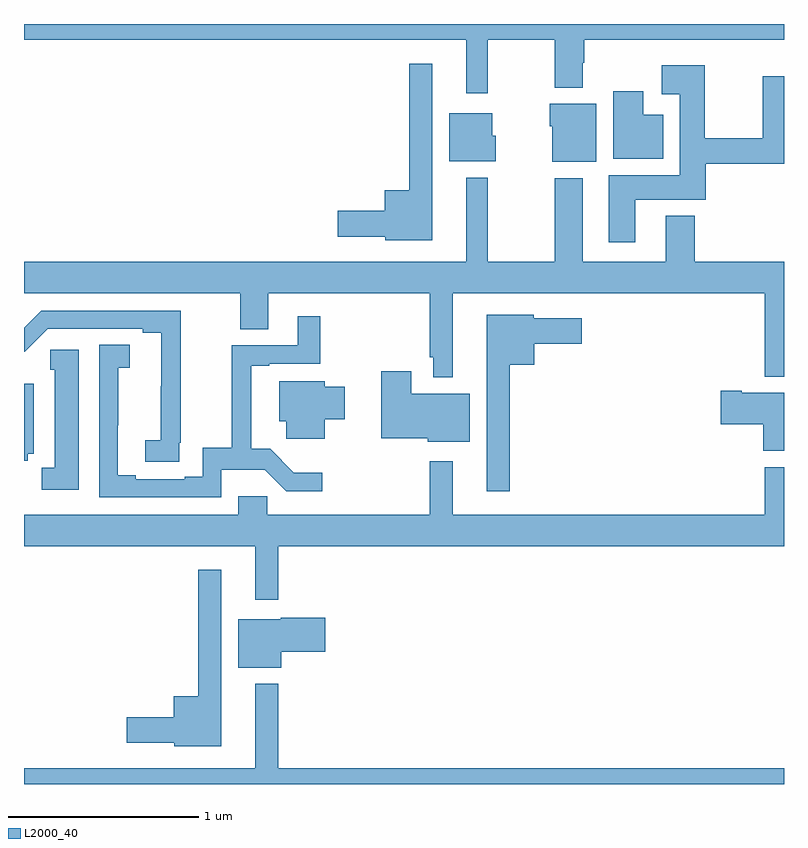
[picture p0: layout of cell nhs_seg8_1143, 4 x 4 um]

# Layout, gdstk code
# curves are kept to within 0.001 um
import gdstk
lib = gdstk.Library(unit=1e-6, precision=1e-09)
def P(c, l, *ps):  # polygons
    for p in ps: c.add(gdstk.Polygon(p, *l))
L2000_40 = (2000, 40)

nhs_seg8_1143 = lib.new_cell('nhs_seg8_1143')
P(nhs_seg8_1143, L2000_40, [(185.441,1133.816),(185.794,1133.816),(185.794,1133.564),(185.941,1133.564),(185.941,1133.696),(185.949,1133.696),(185.949,1133.816),(187,1133.816),(187,1133.9),(183,1133.9),(183,1133.816),(185.327,1133.816),(185.327,1133.535),(185.441,1133.535)],
  [(185.149,1133.692),(185.028,1133.692),(185.028,1133.026),(184.898,1133.026),(184.898,1132.916),(184.65,1132.916),(184.65,1132.781),(184.902,1132.781),(184.902,1132.763),(185.149,1132.763)],
  [(186.217,1132.976),(186.587,1132.976),(186.587,1133.164),(187,1133.164),(187,1133.626),(186.889,1133.626),(186.889,1133.3),(186.582,1133.3),(186.582,1133.683),(186.357,1133.683),(186.357,1133.531),(186.452,1133.531),(186.452,1133.104),(186.077,1133.104),(186.077,1132.752),(186.217,1132.752)],
  [(186.364,1133.422),(186.259,1133.422),(186.259,1133.545),(186.101,1133.545),(186.101,1133.192),(186.364,1133.192)],
  [(186.013,1133.479),(185.768,1133.479),(185.768,1133.361),(185.78,1133.361),(185.78,1133.174),(186.013,1133.174)],
  [(185.482,1133.313),(185.464,1133.313),(185.464,1133.431),(185.237,1133.431),(185.237,1133.177),(185.482,1133.177)],
  [(185.257,1132.484),(186.899,1132.484),(186.899,1132.043),(187,1132.043),(187,1132.648),(186.53,1132.648),(186.53,1132.891),(186.377,1132.891),(186.377,1132.648),(185.941,1132.648),(185.941,1133.089),(185.794,1133.089),(185.794,1132.648),(185.441,1132.648),(185.441,1133.092),(185.327,1133.092),(185.327,1132.648),(183,1132.648),(183,1132.484),(184.138,1132.484),(184.138,1132.294),(184.285,1132.294),(184.285,1132.484),(185.136,1132.484),(185.136,1132.147),(185.153,1132.147),(185.153,1132.04),(185.257,1132.04)],
  [(183.818,1131.697),(183.824,1131.697),(183.824,1132.392),(183.09,1132.392),(183,1132.302),(183,1132.175),(183.005,1132.175),(183.126,1132.296),(183.626,1132.296),(183.626,1132.276),(183.722,1132.276),(183.721,1131.71),(183.639,1131.71),(183.639,1131.595),(183.818,1131.595)],
  [(185.557,1132.106),(185.686,1132.106),(185.686,1132.217),(185.935,1132.217),(185.935,1132.351),(185.682,1132.351),(185.682,1132.369),(185.435,1132.369),(185.435,1131.441),(185.557,1131.441)],
  [(184.038,1131.554),(184.267,1131.554),(184.38,1131.441),(184.57,1131.441),(184.57,1131.538),(184.421,1131.538),(184.295,1131.664),(184.195,1131.664),(184.195,1132.101),(184.291,1132.101),(184.291,1132.113),(184.559,1132.113),(184.559,1132.363),(184.442,1132.363),(184.442,1132.209),(184.093,1132.209),(184.093,1131.671),(183.942,1131.671),(183.942,1131.518),(183.845,1131.518),(183.845,1131.504),(183.589,1131.504),(183.589,1131.524),(183.493,1131.524),(183.493,1131.787),(183.495,1131.787),(183.495,1132.091),(183.556,1132.091),(183.556,1132.211),(183.396,1132.211),(183.396,1131.408),(184.038,1131.408)],
  [(183.289,1132.186),(183.139,1132.186),(183.139,1132.08),(183.161,1132.08),(183.161,1131.564),(183.093,1131.564),(183.093,1131.449),(183.289,1131.449)],
  [(185.347,1131.955),(185.038,1131.955),(185.038,1132.072),(184.88,1132.072),(184.88,1131.719),(185.124,1131.719),(185.124,1131.701),(185.347,1131.701)],
  [(184.582,1131.821),(184.687,1131.821),(184.687,1131.992),(184.582,1131.992),(184.582,1132.021),(184.343,1132.021),(184.343,1131.809),(184.379,1131.809),(184.379,1131.716),(184.582,1131.716)],
  [(183.02,1131.638),(183.052,1131.638),(183.052,1132.006),(183,1132.006),(183,1131.601),(183.02,1131.601)],
  [(187,1131.958),(186.778,1131.958),(186.778,1131.971),(186.666,1131.971),(186.666,1131.793),(186.89,1131.793),(186.89,1131.653),(187,1131.653)],
  [(184.339,1131.152),(187,1131.152),(187,1131.568),(186.899,1131.568),(186.899,1131.316),(185.257,1131.316),(185.257,1131.598),(185.136,1131.598),(185.136,1131.316),(184.279,1131.316),(184.279,1131.414),(184.127,1131.414),(184.127,1131.316),(183,1131.316),(183,1131.152),(184.217,1131.152),(184.217,1130.871),(184.339,1130.871)],
  [(184.039,1131.028),(183.918,1131.028),(183.918,1130.362),(183.788,1130.362),(183.788,1130.252),(183.54,1130.252),(183.54,1130.117),(183.792,1130.117),(183.792,1130.099),(184.039,1130.099)],
  [(184.354,1130.597),(184.585,1130.597),(184.585,1130.775),(184.35,1130.775),(184.35,1130.767),(184.127,1130.767),(184.127,1130.513),(184.354,1130.513)],
  [(187,1129.984),(184.339,1129.984),(184.339,1130.428),(184.217,1130.428),(184.217,1129.984),(183,1129.984),(183,1129.9),(187,1129.9)])

lib.write_gds('nhs_seg8_1143.gds')
